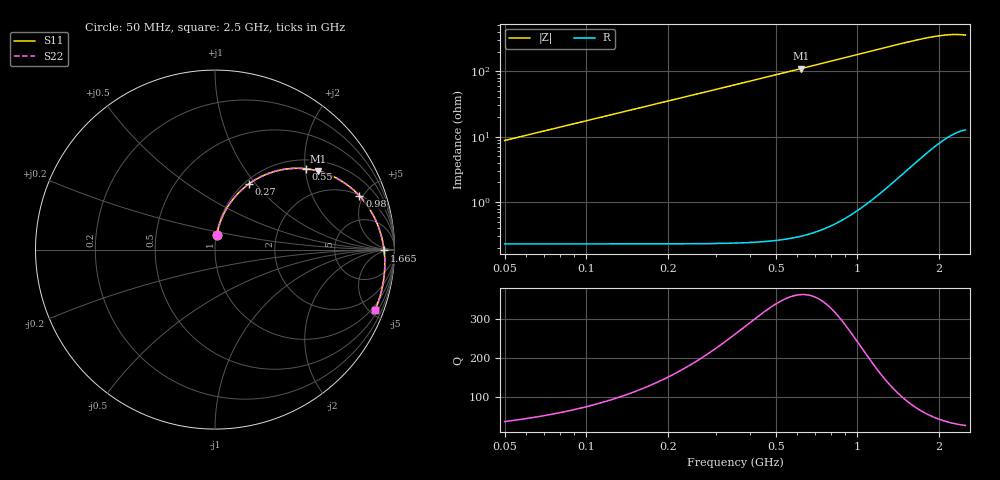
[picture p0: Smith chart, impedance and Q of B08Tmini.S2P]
! Coilcraft B08T_ Mini Spring Air Core Inductor
! 30 May 2003
# MHZ S MA R 50
!Freq  MagS11  AngS11  MagS21  AngS21  MagS12  AngS12  MagS22  AngS22
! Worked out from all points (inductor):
!   491 points, 50 MHz to 2.5 GHz, reference 50 ohm
!   read as one part in series: L = 27.8 nH near 60 MHz
!   highest Q = 363 at 620 MHz (marker M1), where L = 28.2 nH
!   S11 on the Smith chart (normalised r, x): 50 MHz: 1.01, +0.17; 270 MHz: 1.05, +0.92; 550 MHz: 1.21, +2.02; 980 MHz: 2.05, +4.68; 1.665 GHz: 33, -3; 2.5 GHz: 0.73, -5.41
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50  0.08266 83.2  0.9943 -5.2  0.9943 -5.2  0.0827 83.2
90  0.1477 79.7  0.9868 -9.4  0.9868 -9.4  0.1477 79.7
110  0.1795 77.8  0.9815 -11.4  0.9815 -11.4  0.1796 77.8
135  0.2186 75.4  0.9736 -14.0  0.9736 -14.0  0.2187 75.4
165  0.2642 72.6  0.9622 -17.0  0.9622 -17.0  0.2643 72.6
195  0.3081 69.7  0.9491 -19.9  0.9491 -19.9  0.3082 69.7
270  0.4096 62.8  0.9101 -26.9  0.9101 -26.9  0.4098 62.8
360  0.5146 55.2  0.8553 -34.6  0.8553 -34.6  0.5148 55.2
460  0.6097 47.6  0.7905 -42.2  0.7905 -42.2  0.61 47.6
550  0.6782 41.6  0.7327 -48.2  0.7327 -48.2  0.6785 41.6
620  0.7219 37.4  0.6897 -52.5  0.6897 -52.5  0.7223 37.4
740  0.7813 30.9  0.6215 -58.9  0.6215 -58.9  0.7817 30.9
870  0.8286 24.9  0.5566 -64.9  0.5566 -64.9  0.829 24.9
980  0.8586 20.4  0.5087 -69.3  0.5087 -69.3  0.859 20.4
1120  0.8871 15.4  0.4562 -74.3  0.4562 -74.3  0.8875 15.4
1275  0.9098 10.4  0.4077 -79.2  0.4077 -79.2  0.9102 10.4
1460  0.9285 5.1  0.361 -84.3  0.361 -84.3  0.9289 5.1
1665  0.9419 -0.3  0.3211 -89.4  0.3211 -89.4  0.9424 -0.3
1685  0.9429 -0.8  0.3178 -89.9  0.3178 -89.9  0.9434 -0.8
2095  0.9547 -10.7  0.2711 -99.1  0.2711 -99.1  0.9552 -10.7
2300  0.9557 -15.6  0.2624 -103.7  0.2624 -103.7  0.9561 -15.6
2500  0.9536 -20.6  0.2641 -108.3  0.2641 -108.3  0.954 -20.6
